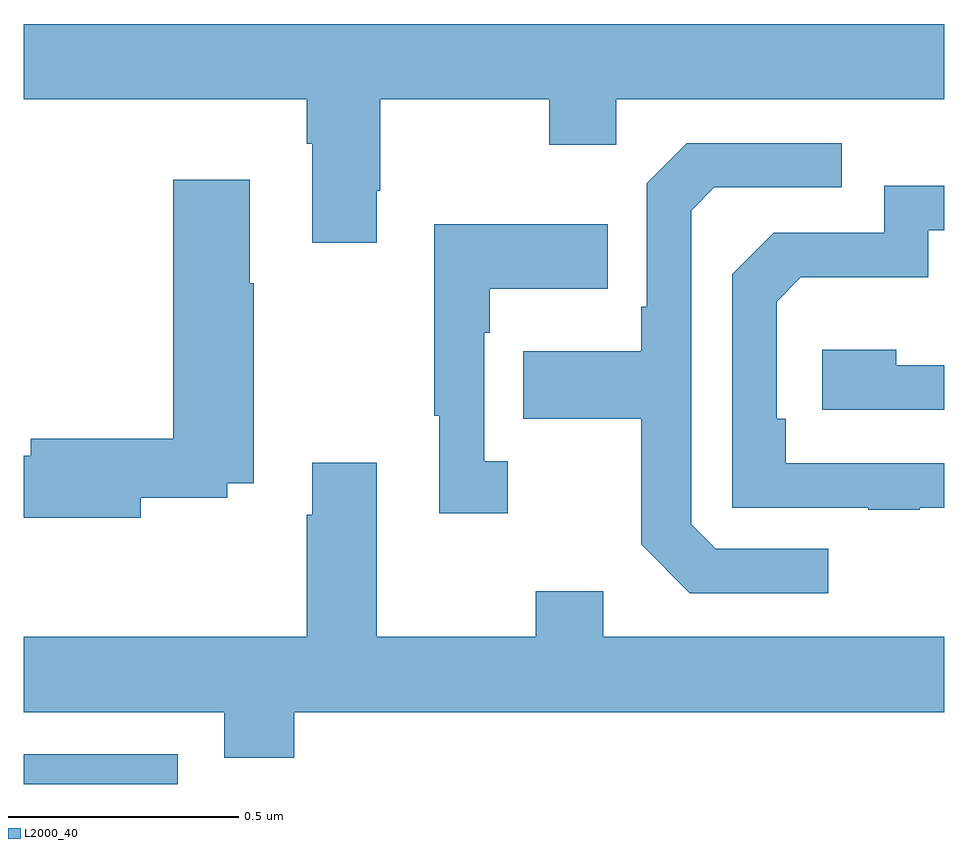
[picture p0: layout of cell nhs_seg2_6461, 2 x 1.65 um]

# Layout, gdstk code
import gdstk
lib = gdstk.Library(unit=1e-6, precision=1e-09)
def R(c, l, rs):  # rectangles x0, y0, x1, y1
    for r in rs: c.add(gdstk.rectangle(r[:2], r[2:], *l))
def P(c, l, *ps):  # polygons
    for p in ps: c.add(gdstk.Polygon(p, *l))
L2000_40 = (2000, 40)

nhs_seg2_6461 = lib.new_cell('nhs_seg2_6461')
R(nhs_seg2_6461, L2000_40, [(191,660.8,191.334,660.865)])
P(nhs_seg2_6461, L2000_40, [(191.767,662.089),(191.775,662.089),(191.775,662.288),(192.142,662.288),(192.142,662.189),(192.288,662.189),(192.288,662.288),(193,662.288),(193,662.452),(191,662.452),(191,662.288),(191.615,662.288),(191.615,662.192),(191.627,662.192),(191.627,661.977),(191.767,661.977)],
  [(192.748,661.311),(192.504,661.311),(192.45,661.365),(192.45,662.046),(192.501,662.097),(192.778,662.097),(192.778,662.193),(192.441,662.193),(192.354,662.106),(192.354,661.837),(192.342,661.837),(192.342,661.741),(192.085,661.741),(192.085,661.594),(192.342,661.594),(192.342,661.321),(192.447,661.215),(192.748,661.215)],
  [(191.254,661.422),(191.442,661.422),(191.442,661.454),(191.499,661.454),(191.499,661.889),(191.491,661.889),(191.491,662.113),(191.324,662.113),(191.324,661.55),(191.015,661.55),(191.015,661.514),(191,661.514),(191,661.379),(191.254,661.379)],
  [(192.947,661.401),(193,661.401),(193,661.497),(192.656,661.497),(192.656,661.594),(192.636,661.594),(192.636,661.848),(192.689,661.901),(192.966,661.901),(192.966,662.004),(193,662.004),(193,662.1),(192.87,662.1),(192.87,661.998),(192.63,661.998),(192.54,661.908),(192.54,661.401),(192.835,661.401),(192.835,661.396),(192.947,661.396)],
  [(192.052,661.502),(192,661.502),(192,661.781),(192.013,661.781),(192.013,661.877),(192.269,661.877),(192.269,662.017),(191.892,662.017),(191.892,661.601),(191.903,661.601),(191.903,661.389),(192.052,661.389)],
  [(193,661.71),(192.896,661.71),(192.896,661.744),(192.735,661.744),(192.735,661.614),(193,661.614)],
  [(193,661.12),(192.259,661.12),(192.259,661.219),(192.112,661.219),(192.112,661.12),(191.767,661.12),(191.767,661.498),(191.627,661.498),(191.627,661.385),(191.615,661.385),(191.615,661.12),(191,661.12),(191,660.956),(191.435,660.956),(191.435,660.857),(191.588,660.857),(191.588,660.956),(193,660.956)])

lib.write_gds('nhs_seg2_6461.gds')
